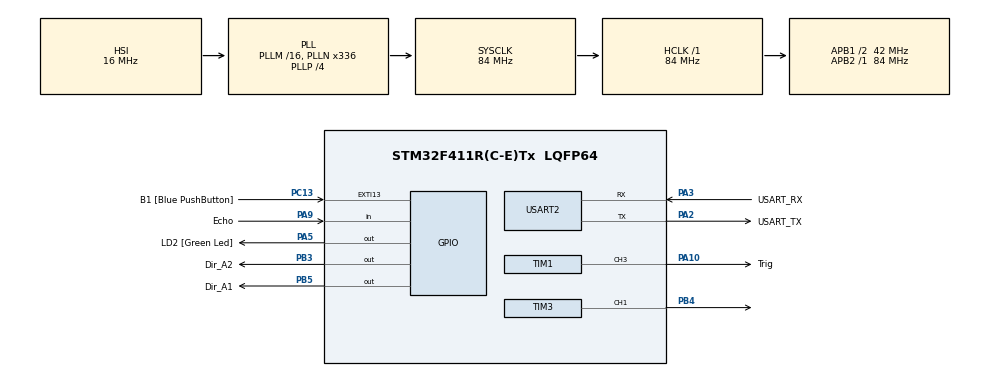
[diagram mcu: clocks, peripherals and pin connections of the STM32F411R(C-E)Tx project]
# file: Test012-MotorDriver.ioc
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FREERTOS.BinarySemaphores01=myBinarySem01,Dynamic,NULL
FREERTOS.Tasks01=myTask01,1,512,StartTask01,Default,NULL,Dynamic,NULL,NULL;myTask02,0,512,StartTask02,Default,NULL,Dynamic,NULL,NULL;myTask03,-1,512,StartTask03,Default,NULL,Dynamic,NULL,NULL;myTask04,-2,512,StartTask04,Default,NULL,Dynamic,NULL,NULL
FREERTOS.configUSE_NEWLIB_REENTRANT=1
Mcu.Family=STM32F4
Mcu.Name=STM32F411R(C-E)Tx
Mcu.Package=LQFP64
NVIC.PriorityGroup=NVIC_PRIORITYGROUP_4
NVIC.TIM1_UP_TIM10_IRQn=true\:15\:0\:false\:false\:true\:false\:false\:true\:true
NVIC.TimeBase=TIM1_UP_TIM10_IRQn
NVIC.TimeBaseIP=TIM10
PA10.GPIO_Label=Trig
PA10.Signal=S_TIM1_CH3
PA13.GPIO_Label=TMS
PA13.Mode=Serial_Wire
PA13.Signal=SYS_JTMS-SWDIO
PA14.GPIO_Label=TCK
PA14.Mode=Serial_Wire
PA14.Signal=SYS_JTCK-SWCLK
PA2.GPIO_Label=USART_TX
PA2.Mode=Asynchronous
PA2.Signal=USART2_TX
PA3.GPIO_Label=USART_RX
PA3.Mode=Asynchronous
PA3.Signal=USART2_RX
PA5.GPIO_Label=LD2 [Green Led]
PA5.Signal=GPIO_Output
PA9.GPIO_Label=Echo
PA9.Signal=GPIO_Input
PB3.GPIO_Label=Dir_A2
PB3.Signal=GPIO_Output
PB4.Signal=S_TIM3_CH1
PB5.GPIO_Label=Dir_A1
PB5.Signal=GPIO_Output
PC13-ANTI_TAMP.GPIO_Label=B1 [Blue PushButton]
PC13-ANTI_TAMP.GPIO_ModeDefaultEXTI=GPIO_MODE_IT_FALLING
PC13-ANTI_TAMP.Signal=GPXTI13
PC14-OSC32_IN.Mode=LSE-External-Oscillator
PC14-OSC32_IN.Signal=RCC_OSC32_IN
PC15-OSC32_OUT.Mode=LSE-External-Oscillator
PC15-OSC32_OUT.Signal=RCC_OSC32_OUT
PH0\ -\ OSC_IN.Mode=HSE-External-Clock-Source
PH0\ -\ OSC_IN.Signal=RCC_OSC_IN
PH1\ -\ OSC_OUT.Mode=HSE-External-Clock-Source
PH1\ -\ OSC_OUT.Signal=RCC_OSC_OUT
ProjectManager.HeapSize=0x200
ProjectManager.StackSize=0x400
ProjectManager.TargetToolchain=STM32CubeIDE
RCC.48MHZClocksFreq_Value=84000000
RCC.AHBFreq_Value=84000000
RCC.APB1CLKDivider=RCC_HCLK_DIV2
RCC.APB1Freq_Value=42000000
RCC.APB1TimFreq_Value=84000000
RCC.APB2Freq_Value=84000000
RCC.APB2TimFreq_Value=84000000
RCC.CortexFreq_Value=84000000
RCC.FLatency-AdvancedSettings=FLASH_LATENCY_2
RCC.HCLKFreq_Value=84000000
RCC.HSE_VALUE=8000000
RCC.HSI_VALUE=16000000
RCC.PLLN=336
RCC.PLLP=RCC_PLLP_DIV4
RCC.SYSCLKFreq_VALUE=84000000
RCC.SYSCLKSource=RCC_SYSCLKSOURCE_PLLCLK
RCC.VCOOutputFreq_Value=336000000
SH.S_TIM1_CH3.0=TIM1_CH3,PWM Generation3 CH3
SH.S_TIM3_CH1.0=TIM3_CH1,PWM Generation1 CH1
TIM1.Channel-PWM\ Generation3\ CH3=TIM_CHANNEL_3
TIM1.Period=60000-1
TIM1.Prescaler=84-1
TIM1.Pulse-PWM\ Generation3\ CH3=10-1
TIM2.Prescaler=84
TIM3.AutoReloadPreload=TIM_AUTORELOAD_PRELOAD_DISABLE
TIM3.Channel-PWM\ Generation1\ CH1=TIM_CHANNEL_1
TIM3.OCMode_PWM-PWM\ Generation1\ CH1=TIM_OCMODE_PWM1
TIM3.Period=1000-1
TIM3.Prescaler=84-1
TIM3.Pulse-PWM\ Generation1\ CH1=0
USART2.VirtualMode=VM_ASYNC
VP_FREERTOS_VS_CMSIS_V1.Mode=CMSIS_V1
VP_SYS_VS_tim10.Mode=TIM10
VP_TIM1_VS_ClockSourceINT.Mode=Internal
VP_TIM2_VS_ClockSourceINT.Mode=Internal
board=NUCLEO-F411RE

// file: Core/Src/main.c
/* USER CODE BEGIN Header */
/**
  ******************************************************************************
  * @file           : main.c
  * @brief          : Main program body
  ******************************************************************************
  * @attention
  *
  * Copyright (c) 2025 STMicroelectronics.
  * All rights reserved.
  *
  * This software is licensed under terms that can be found in the LICENSE file
  * in the root directory of this software component.
  * If no LICENSE file comes with this software, it is provided AS-IS.
  *
  ******************************************************************************
  */
/* USER CODE END Header */
#include "main.h"
#include "cmsis_os.h"

TIM_HandleTypeDef htim1;
TIM_HandleTypeDef htim2;
TIM_HandleTypeDef htim3;

UART_HandleTypeDef huart2;

osThreadId myTask01Handle;
osThreadId myTask02Handle;
osThreadId myTask03Handle;
osThreadId myTask04Handle;
osSemaphoreId myBinarySem01Handle;

void SystemClock_Config(void);
static void MX_GPIO_Init(void);
static void MX_USART2_UART_Init(void);
static void MX_TIM3_Init(void);
static void MX_TIM1_Init(void);
static void MX_TIM2_Init(void);
void StartTask01(void const * argument);
void StartTask02(void const * argument);
void StartTask03(void const * argument);
void StartTask04(void const * argument);

int main(void)
{

  /* MCU Configuration--------------------------------------------------------*/

  /* Reset of all peripherals, Initializes the Flash interface and the Systick. */
  HAL_Init();

  /* Configure the system clock */
  SystemClock_Config();

  /* Initialize all configured peripherals */
  MX_GPIO_Init();
  MX_USART2_UART_Init();
  MX_TIM3_Init();
  MX_TIM1_Init();
  MX_TIM2_Init();

  /* Create the semaphores(s) */
  /* definition and creation of myBinarySem01 */
  osSemaphoreDef(myBinarySem01);
  myBinarySem01Handle = osSemaphoreCreate(osSemaphore(myBinarySem01), 1);

  /* Create the thread(s) */
  /* definition and creation of myTask01 */
  osThreadDef(myTask01, StartTask01, osPriorityAboveNormal, 0, 512);
  myTask01Handle = osThreadCreate(osThread(myTask01), NULL);

  /* definition and creation of myTask02 */
  osThreadDef(myTask02, StartTask02, osPriorityNormal, 0, 512);
  myTask02Handle = osThreadCreate(osThread(myTask02), NULL);

  /* definition and creation of myTask03 */
  osThreadDef(myTask03, StartTask03, osPriorityBelowNormal, 0, 512);
  myTask03Handle = osThreadCreate(osThread(myTask03), NULL);

  /* definition and creation of myTask04 */
  osThreadDef(myTask04, StartTask04, osPriorityLow, 0, 512);
  myTask04Handle = osThreadCreate(osThread(myTask04), NULL);

  /* USER CODE BEGIN RTOS_THREADS */
  /* add threads, ... */
  ProgramStart ("DC Motor & Motor Driver Test");
    HAL_GPIO_WritePin(Dir_A1_GPIO_Port, Dir_A1_Pin, 1);
    HAL_GPIO_WritePin(Dir_A2_GPIO_Port, Dir_A2_Pin, 0);
    HAL_TIM_Base_Start(&htim2);
    HAL_TIM_PWM_Start(&htim3, TIM_CHANNEL_1);
    HAL_TIM_PWM_Start(&htim1, TIM_CHANNEL_3);
    osSemaphoreRelease(myBinarySem01Handle);
  /* USER CODE END RTOS_THREADS */

  /* Start scheduler */
  osKernelStart();

  /* We should never get here as control is now taken by the scheduler */
  /* Infinite loop */
  /* USER CODE BEGIN WHILE */
//  int ccr1 = 0;
//  int op = 10;
  while (1)
  {
//	 htim3.Instance->CCR1 = ccr1;
//	 ccr1 += op;
//	 if((ccr1 > htim3.Instance->ARR) || (ccr1<0))
//	 {
//		 printf("Motor direction Changed...(%d)\r\n",op);
//		 op *= -1;
//	 }
//	 HAL_Delay(50);
    /* USER CODE END WHILE */

  }
}

void SystemClock_Config(void)
{
  RCC_OscInitTypeDef RCC_OscInitStruct = {0};
  RCC_ClkInitTypeDef RCC_ClkInitStruct = {0};

  /** Configure the main internal regulator output voltage
  */
  __HAL_RCC_PWR_CLK_ENABLE();
  __HAL_PWR_VOLTAGESCALING_CONFIG(PWR_REGULATOR_VOLTAGE_SCALE1);

  /** Initializes the RCC Oscillators according to the specified parameters
  * in the RCC_OscInitTypeDef structure.
  */
  RCC_OscInitStruct.OscillatorType = RCC_OSCILLATORTYPE_HSI;
  RCC_OscInitStruct.HSIState = RCC_HSI_ON;
  RCC_OscInitStruct.HSICalibrationValue = RCC_HSICALIBRATION_DEFAULT;
  RCC_OscInitStruct.PLL.PLLState = RCC_PLL_ON;
  RCC_OscInitStruct.PLL.PLLSource = RCC_PLLSOURCE_HSI;
  RCC_OscInitStruct.PLL.PLLM = 16;
  RCC_OscInitStruct.PLL.PLLN = 336;
  RCC_OscInitStruct.PLL.PLLP = RCC_PLLP_DIV4;
  RCC_OscInitStruct.PLL.PLLQ = 4;
  if (HAL_RCC_OscConfig(&RCC_OscInitStruct) != HAL_OK)
  {
    Error_Handler();
  }

  /** Initializes the CPU, AHB and APB buses clocks
  */
  RCC_ClkInitStruct.ClockType = RCC_CLOCKTYPE_HCLK|RCC_CLOCKTYPE_SYSCLK
                              |RCC_CLOCKTYPE_PCLK1|RCC_CLOCKTYPE_PCLK2;
  RCC_ClkInitStruct.SYSCLKSource = RCC_SYSCLKSOURCE_PLLCLK;
  RCC_ClkInitStruct.AHBCLKDivider = RCC_SYSCLK_DIV1;
  RCC_ClkInitStruct.APB1CLKDivider = RCC_HCLK_DIV2;
  RCC_ClkInitStruct.APB2CLKDivider = RCC_HCLK_DIV1;

  if (HAL_RCC_ClockConfig(&RCC_ClkInitStruct, FLASH_LATENCY_2) != HAL_OK)
  {
    Error_Handler();
  }
}

static void MX_TIM1_Init(void)
{

  TIM_ClockConfigTypeDef sClockSourceConfig = {0};
  TIM_MasterConfigTypeDef sMasterConfig = {0};
  TIM_OC_InitTypeDef sConfigOC = {0};
  TIM_BreakDeadTimeConfigTypeDef sBreakDeadTimeConfig = {0};

  htim1.Instance = TIM1;
  htim1.Init.Prescaler = 84-1;
  htim1.Init.CounterMode = TIM_COUNTERMODE_UP;
  htim1.Init.Period = 60000-1;
  htim1.Init.ClockDivision = TIM_CLOCKDIVISION_DIV1;
  htim1.Init.RepetitionCounter = 0;
  htim1.Init.AutoReloadPreload = TIM_AUTORELOAD_PRELOAD_DISABLE;
  if (HAL_TIM_Base_Init(&htim1) != HAL_OK)
  {
    Error_Handler();
  }
  sClockSourceConfig.ClockSource = TIM_CLOCKSOURCE_INTERNAL;
  if (HAL_TIM_ConfigClockSource(&htim1, &sClockSourceConfig) != HAL_OK)
  {
    Error_Handler();
  }
  if (HAL_TIM_PWM_Init(&htim1) != HAL_OK)
  {
    Error_Handler();
  }
  sMasterConfig.MasterOutputTrigger = TIM_TRGO_RESET;
  sMasterConfig.MasterSlaveMode = TIM_MASTERSLAVEMODE_DISABLE;
  if (HAL_TIMEx_MasterConfigSynchronization(&htim1, &sMasterConfig) != HAL_OK)
  {
    Error_Handler();
  }
  sConfigOC.OCMode = TIM_OCMODE_PWM1;
  sConfigOC.Pulse = 10-1;
  sConfigOC.OCPolarity = TIM_OCPOLARITY_HIGH;
  sConfigOC.OCNPolarity = TIM_OCNPOLARITY_HIGH;
  sConfigOC.OCFastMode = TIM_OCFAST_DISABLE;
  sConfigOC.OCIdleState = TIM_OCIDLESTATE_RESET;
  sConfigOC.OCNIdleState = TIM_OCNIDLESTATE_RESET;
  if (HAL_TIM_PWM_ConfigChannel(&htim1, &sConfigOC, TIM_CHANNEL_3) != HAL_OK)
  {
    Error_Handler();
  }
  sBreakDeadTimeConfig.OffStateRunMode = TIM_OSSR_DISABLE;
  sBreakDeadTimeConfig.OffStateIDLEMode = TIM_OSSI_DISABLE;
  sBreakDeadTimeConfig.LockLevel = TIM_LOCKLEVEL_OFF;
  sBreakDeadTimeConfig.DeadTime = 0;
  sBreakDeadTimeConfig.BreakState = TIM_BREAK_DISABLE;
  sBreakDeadTimeConfig.BreakPolarity = TIM_BREAKPOLARITY_HIGH;
  sBreakDeadTimeConfig.AutomaticOutput = TIM_AUTOMATICOUTPUT_DISABLE;
  if (HAL_TIMEx_ConfigBreakDeadTime(&htim1, &sBreakDeadTimeConfig) != HAL_OK)
  {
    Error_Handler();
  }
  HAL_TIM_MspPostInit(&htim1);

}

static void MX_TIM2_Init(void)
{

  TIM_ClockConfigTypeDef sClockSourceConfig = {0};
  TIM_MasterConfigTypeDef sMasterConfig = {0};

  htim2.Instance = TIM2;
  htim2.Init.Prescaler = 84;
  htim2.Init.CounterMode = TIM_COUNTERMODE_UP;
  htim2.Init.Period = 4294967295;
  htim2.Init.ClockDivision = TIM_CLOCKDIVISION_DIV1;
  htim2.Init.AutoReloadPreload = TIM_AUTORELOAD_PRELOAD_DISABLE;
  if (HAL_TIM_Base_Init(&htim2) != HAL_OK)
  {
    Error_Handler();
  }
  sClockSourceConfig.ClockSource = TIM_CLOCKSOURCE_INTERNAL;
  if (HAL_TIM_ConfigClockSource(&htim2, &sClockSourceConfig) != HAL_OK)
  {
    Error_Handler();
  }
  sMasterConfig.MasterOutputTrigger = TIM_TRGO_RESET;
  sMasterConfig.MasterSlaveMode = TIM_MASTERSLAVEMODE_DISABLE;
  if (HAL_TIMEx_MasterConfigSynchronization(&htim2, &sMasterConfig) != HAL_OK)
  {
    Error_Handler();
  }

}

static void MX_TIM3_Init(void)
{

  TIM_MasterConfigTypeDef sMasterConfig = {0};
  TIM_OC_InitTypeDef sConfigOC = {0};

  htim3.Instance = TIM3;
  htim3.Init.Prescaler = 84-1;
  htim3.Init.CounterMode = TIM_COUNTERMODE_UP;
  htim3.Init.Period = 1000-1;
  htim3.Init.ClockDivision = TIM_CLOCKDIVISION_DIV1;
  htim3.Init.AutoReloadPreload = TIM_AUTORELOAD_PRELOAD_DISABLE;
  if (HAL_TIM_PWM_Init(&htim3) != HAL_OK)
  {
    Error_Handler();
  }
  sMasterConfig.MasterOutputTrigger = TIM_TRGO_RESET;
  sMasterConfig.MasterSlaveMode = TIM_MASTERSLAVEMODE_DISABLE;
  if (HAL_TIMEx_MasterConfigSynchronization(&htim3, &sMasterConfig) != HAL_OK)
  {
    Error_Handler();
  }
  sConfigOC.OCMode = TIM_OCMODE_PWM1;
  sConfigOC.Pulse = 0;
  sConfigOC.OCPolarity = TIM_OCPOLARITY_HIGH;
  sConfigOC.OCFastMode = TIM_OCFAST_DISABLE;
  if (HAL_TIM_PWM_ConfigChannel(&htim3, &sConfigOC, TIM_CHANNEL_1) != HAL_OK)
  {
    Error_Handler();
  }
  HAL_TIM_MspPostInit(&htim3);

}

static void MX_USART2_UART_Init(void)
{

  huart2.Instance = USART2;
  huart2.Init.BaudRate = 115200;
  huart2.Init.WordLength = UART_WORDLENGTH_8B;
  huart2.Init.StopBits = UART_STOPBITS_1;
  huart2.Init.Parity = UART_PARITY_NONE;
  huart2.Init.Mode = UART_MODE_TX_RX;
  huart2.Init.HwFlowCtl = UART_HWCONTROL_NONE;
  huart2.Init.OverSampling = UART_OVERSAMPLING_16;
  if (HAL_UART_Init(&huart2) != HAL_OK)
  {
    Error_Handler();
  }

}

static void MX_GPIO_Init(void)
{
  GPIO_InitTypeDef GPIO_InitStruct = {0};

  /* GPIO Ports Clock Enable */
  __HAL_RCC_GPIOC_CLK_ENABLE();
  __HAL_RCC_GPIOH_CLK_ENABLE();
  __HAL_RCC_GPIOA_CLK_ENABLE();
  __HAL_RCC_GPIOB_CLK_ENABLE();

  /*Configure GPIO pin Output Level */
  HAL_GPIO_WritePin(LD2_GPIO_Port, LD2_Pin, GPIO_PIN_RESET);

  /*Configure GPIO pin Output Level */
  HAL_GPIO_WritePin(GPIOB, Dir_A2_Pin|Dir_A1_Pin, GPIO_PIN_RESET);

  /*Configure GPIO pin : B1_Pin */
  GPIO_InitStruct.Pin = B1_Pin;
  GPIO_InitStruct.Mode = GPIO_MODE_IT_FALLING;
  GPIO_InitStruct.Pull = GPIO_NOPULL;
  HAL_GPIO_Init(B1_GPIO_Port, &GPIO_InitStruct);

  /*Configure GPIO pin : LD2_Pin */
  GPIO_InitStruct.Pin = LD2_Pin;
  GPIO_InitStruct.Mode = GPIO_MODE_OUTPUT_PP;
  GPIO_InitStruct.Pull = GPIO_NOPULL;
  GPIO_InitStruct.Speed = GPIO_SPEED_FREQ_LOW;
  HAL_GPIO_Init(LD2_GPIO_Port, &GPIO_InitStruct);

  /*Configure GPIO pin : Echo_Pin */
  GPIO_InitStruct.Pin = Echo_Pin;
  GPIO_InitStruct.Mode = GPIO_MODE_INPUT;
  GPIO_InitStruct.Pull = GPIO_NOPULL;
  HAL_GPIO_Init(Echo_GPIO_Port, &GPIO_InitStruct);

  /*Configure GPIO pins : Dir_A2_Pin Dir_A1_Pin */
  GPIO_InitStruct.Pin = Dir_A2_Pin|Dir_A1_Pin;
  GPIO_InitStruct.Mode = GPIO_MODE_OUTPUT_PP;
  GPIO_InitStruct.Pull = GPIO_NOPULL;
  GPIO_InitStruct.Speed = GPIO_SPEED_FREQ_LOW;
  HAL_GPIO_Init(GPIOB, &GPIO_InitStruct);

}

/* USER CODE BEGIN 4 */
int dist;
/* USER CODE END 4 */

void StartTask01(void const * argument)
{
  /* USER CODE BEGIN 5 */
  /* Infinite loop */
  for(;;)
  {
		 if(osSemaphoreWait(myBinarySem01Handle, 0) == osOK)
		 {
		  int distance = Distance();
		  printf("dist = %d\r\n", distance);
		  osSemaphoreRelease(myBinarySem01Handle);
		 }
    osDelay(100);
  }
  /* USER CODE END 5 */
}

void StartTask02(void const * argument)
{
  /* USER CODE BEGIN StartTask02 */
  /* Infinite loop */
  for(;;)
  {
    osDelay(100);
  }
  /* USER CODE END StartTask02 */
}

void StartTask03(void const * argument)
{
  /* USER CODE BEGIN StartTask03 */
  /* Infinite loop */
  for(;;)
  {
    osDelay(100);
  }
  /* USER CODE END StartTask03 */
}

void StartTask04(void const * argument)
{
  /* USER CODE BEGIN StartTask04 */
  /* Infinite loop */
  for(;;)
  {
    osDelay(100);
  }
  /* USER CODE END StartTask04 */
}

void HAL_TIM_PeriodElapsedCallback(TIM_HandleTypeDef *htim)
{
  if (htim->Instance == TIM10) {
    HAL_IncTick();
  }
}

void Error_Handler(void)
{
  __disable_irq();
  while (1)
  {
  }
}
